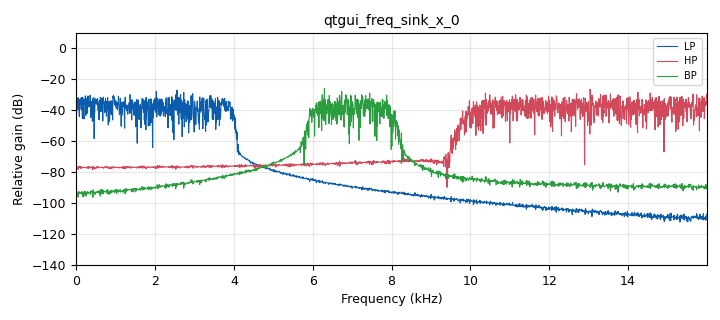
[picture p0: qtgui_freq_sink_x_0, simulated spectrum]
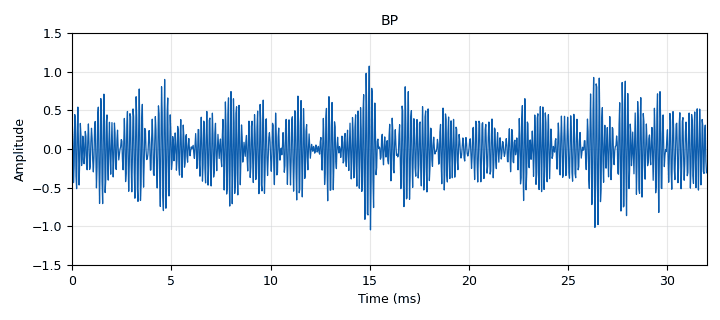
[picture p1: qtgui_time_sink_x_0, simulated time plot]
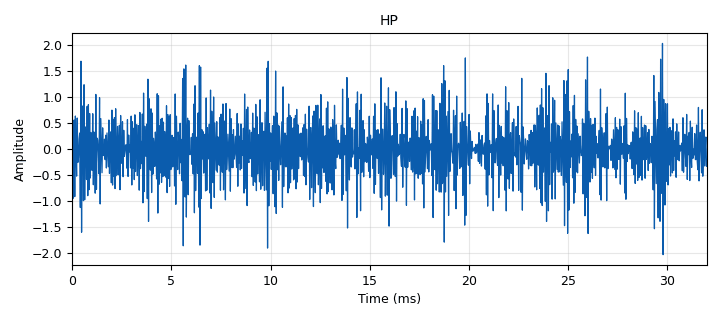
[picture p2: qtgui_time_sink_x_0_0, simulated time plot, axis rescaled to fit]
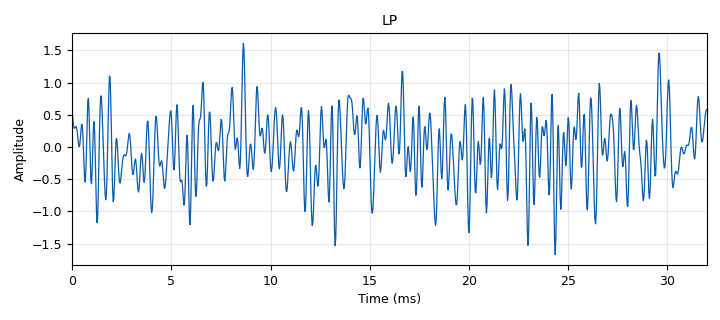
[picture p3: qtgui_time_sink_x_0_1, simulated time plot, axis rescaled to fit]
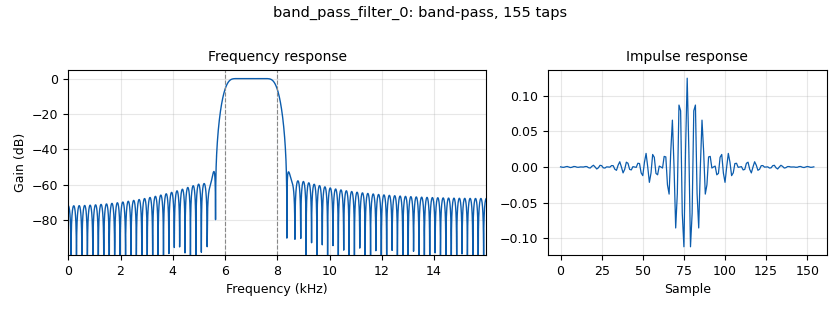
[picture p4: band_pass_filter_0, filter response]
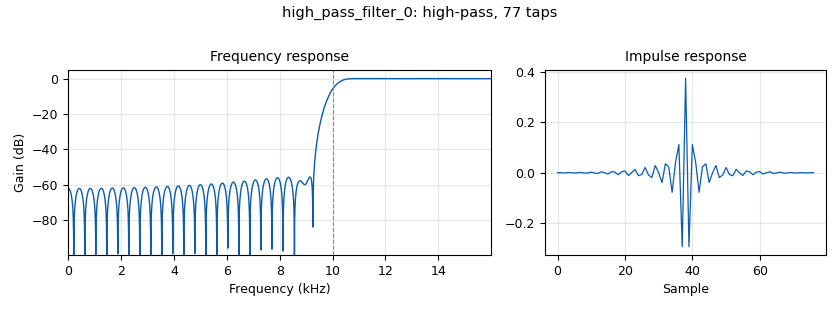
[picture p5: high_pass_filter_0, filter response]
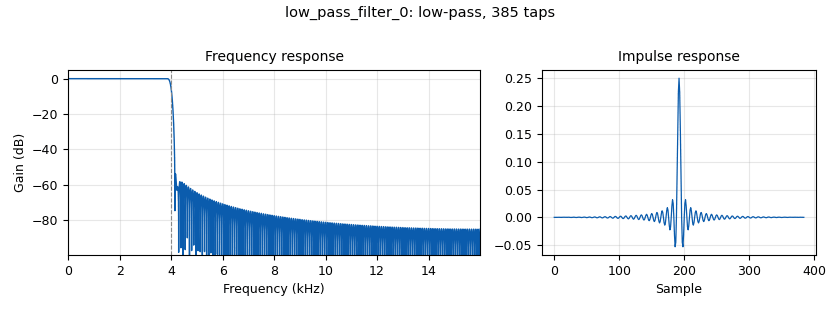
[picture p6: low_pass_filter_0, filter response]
<?xml version='1.0' encoding='utf-8'?>
<?grc format='1' created='3.7.9'?>
<flow_graph>
<block>
<key>options</key>
<param><key>id</key><value>top_block</value></param>
<param><key>category</key><value>Custom</value></param>
<param><key>generate_options</key><value>qt_gui</value></param>
</block>
<block>
<key>variable</key>
<param><key>id</key><value>samp_rate</value></param>
<param><key>value</key><value>32000</value></param>
</block>
<block>
<key>qtgui_number_sink</key>
<param><key>id</key><value>RMS_0</value></param>
<param><key>gui_hint</key><value>aba@1</value></param>
<param><key>graph_type</key><value>qtgui.NUM_GRAPH_HORIZ</value></param>
<param><key>type</key><value>float</value></param>
<param><key>label1</key><value>LP</value></param>
<param><key>label2</key><value>HP</value></param>
<param><key>label3</key><value>BP</value></param>
<param><key>min</key><value>0</value></param>
<param><key>nconnections</key><value>3</value></param>
</block>
<block>
<key>qtgui_number_sink</key>
<param><key>id</key><value>RMS_0_0</value></param>
<param><key>autoscale</key><value>True</value></param>
<param><key>gui_hint</key><value>aba@1</value></param>
<param><key>graph_type</key><value>qtgui.NUM_GRAPH_HORIZ</value></param>
<param><key>type</key><value>float</value></param>
<param><key>label1</key><value>Noise</value></param>
<param><key>max</key><value>1.5</value></param>
<param><key>min</key><value>0</value></param>
</block>
<block>
<key>qtgui_tab_widget</key>
<param><key>id</key><value>aba</value></param>
<param><key>label0</key><value>Resposta em f</value></param>
<param><key>label1</key><value>Valores RMS</value></param>
<param><key>label2</key><value>Osciloscopio</value></param>
<param><key>num_tabs</key><value>3</value></param>
</block>
<block>
<key>analog_noise_source_x</key>
<param><key>id</key><value>analog_noise_source_x_0</value></param>
<param><key>amp</key><value>1</value></param>
<param><key>noise_type</key><value>analog.GR_GAUSSIAN</value></param>
<param><key>type</key><value>float</value></param>
<param><key>seed</key><value>0</value></param>
</block>
<block>
<key>band_pass_filter</key>
<param><key>id</key><value>band_pass_filter_0</value></param>
<param><key>decim</key><value>1</value></param>
<param><key>type</key><value>fir_filter_fff</value></param>
<param><key>gain</key><value>1</value></param>
<param><key>high_cutoff_freq</key><value>8000</value></param>
<param><key>low_cutoff_freq</key><value>6000</value></param>
<param><key>samp_rate</key><value>samp_rate</value></param>
<param><key>width</key><value>500</value></param>
<param><key>win</key><value>firdes.WIN_HAMMING</value></param>
</block>
<block>
<key>blocks_rms_xx</key>
<param><key>id</key><value>blocks_rms_xx_0</value></param>
<param><key>alpha</key><value>0.0001</value></param>
<param><key>type</key><value>float</value></param>
</block>
<block>
<key>blocks_rms_xx</key>
<param><key>id</key><value>blocks_rms_xx_0_0</value></param>
<param><key>alpha</key><value>0.0001</value></param>
<param><key>type</key><value>float</value></param>
</block>
<block>
<key>blocks_rms_xx</key>
<param><key>id</key><value>blocks_rms_xx_0_0_0</value></param>
<param><key>alpha</key><value>0.0001</value></param>
<param><key>type</key><value>float</value></param>
</block>
<block>
<key>blocks_rms_xx</key>
<param><key>id</key><value>blocks_rms_xx_0_0_0_0</value></param>
<param><key>alpha</key><value>0.0001</value></param>
<param><key>type</key><value>float</value></param>
</block>
<block>
<key>high_pass_filter</key>
<param><key>id</key><value>high_pass_filter_0</value></param>
<param><key>cutoff_freq</key><value>10000</value></param>
<param><key>decim</key><value>1</value></param>
<param><key>type</key><value>fir_filter_fff</value></param>
<param><key>gain</key><value>1</value></param>
<param><key>samp_rate</key><value>samp_rate</value></param>
<param><key>width</key><value>1000</value></param>
<param><key>win</key><value>firdes.WIN_HAMMING</value></param>
</block>
<block>
<key>low_pass_filter</key>
<param><key>id</key><value>low_pass_filter_0</value></param>
<param><key>cutoff_freq</key><value>4000</value></param>
<param><key>decim</key><value>1</value></param>
<param><key>type</key><value>fir_filter_fff</value></param>
<param><key>gain</key><value>1</value></param>
<param><key>samp_rate</key><value>samp_rate</value></param>
<param><key>width</key><value>200</value></param>
<param><key>win</key><value>firdes.WIN_HAMMING</value></param>
</block>
<block>
<key>qtgui_freq_sink_x</key>
<param><key>id</key><value>qtgui_freq_sink_x_0</value></param>
<param><key>bw</key><value>samp_rate</value></param>
<param><key>fc</key><value>0</value></param>
<param><key>ctrlpanel</key><value>True</value></param>
<param><key>fftsize</key><value>4096</value></param>
<param><key>gui_hint</key><value>aba@0</value></param>
<param><key>grid</key><value>True</value></param>
<param><key>label1</key><value>LP</value></param>
<param><key>label2</key><value>HP</value></param>
<param><key>label3</key><value>BP</value></param>
<param><key>nconnections</key><value>3</value></param>
<param><key>showports</key><value>True</value></param>
<param><key>freqhalf</key><value>False</value></param>
<param><key>type</key><value>float</value></param>
<param><key>wintype</key><value>firdes.WIN_RECTANGULAR</value></param>
</block>
<block>
<key>qtgui_time_sink_x</key>
<param><key>id</key><value>qtgui_time_sink_x_0</value></param>
<param><key>ctrlpanel</key><value>True</value></param>
<param><key>gui_hint</key><value>aba@2</value></param>
<param><key>grid</key><value>True</value></param>
<param><key>color1</key><value>"green"</value></param>
<param><key>label1</key><value></value></param>
<param><key>name</key><value>"BP"</value></param>
<param><key>size</key><value>1024</value></param>
<param><key>srate</key><value>samp_rate</value></param>
<param><key>type</key><value>float</value></param>
<param><key>ymax</key><value>1.5</value></param>
<param><key>ymin</key><value>-1.5</value></param>
</block>
<block>
<key>qtgui_time_sink_x</key>
<param><key>id</key><value>qtgui_time_sink_x_0_0</value></param>
<param><key>ctrlpanel</key><value>True</value></param>
<param><key>gui_hint</key><value>aba@2</value></param>
<param><key>grid</key><value>True</value></param>
<param><key>color1</key><value>"red"</value></param>
<param><key>label1</key><value></value></param>
<param><key>name</key><value>"HP"</value></param>
<param><key>size</key><value>1024</value></param>
<param><key>srate</key><value>samp_rate</value></param>
<param><key>type</key><value>float</value></param>
<param><key>ymax</key><value>1.5</value></param>
<param><key>ymin</key><value>-1.5</value></param>
</block>
<block>
<key>qtgui_time_sink_x</key>
<param><key>id</key><value>qtgui_time_sink_x_0_1</value></param>
<param><key>ctrlpanel</key><value>True</value></param>
<param><key>gui_hint</key><value>aba@2</value></param>
<param><key>grid</key><value>True</value></param>
<param><key>color1</key><value>"blue"</value></param>
<param><key>label1</key><value></value></param>
<param><key>name</key><value>"LP"</value></param>
<param><key>size</key><value>1024</value></param>
<param><key>srate</key><value>samp_rate</value></param>
<param><key>type</key><value>float</value></param>
<param><key>ymax</key><value>1.5</value></param>
<param><key>ymin</key><value>-1.5</value></param>
</block>
<connection><source_block_id>analog_noise_source_x_0</source_block_id><sink_block_id>band_pass_filter_0</sink_block_id><source_key>0</source_key><sink_key>0</sink_key></connection>
<connection><source_block_id>analog_noise_source_x_0</source_block_id><sink_block_id>blocks_rms_xx_0_0_0_0</sink_block_id><source_key>0</source_key><sink_key>0</sink_key></connection>
<connection><source_block_id>analog_noise_source_x_0</source_block_id><sink_block_id>high_pass_filter_0</sink_block_id><source_key>0</source_key><sink_key>0</sink_key></connection>
<connection><source_block_id>analog_noise_source_x_0</source_block_id><sink_block_id>low_pass_filter_0</sink_block_id><source_key>0</source_key><sink_key>0</sink_key></connection>
<connection><source_block_id>band_pass_filter_0</source_block_id><sink_block_id>blocks_rms_xx_0_0_0</sink_block_id><source_key>0</source_key><sink_key>0</sink_key></connection>
<connection><source_block_id>band_pass_filter_0</source_block_id><sink_block_id>qtgui_freq_sink_x_0</sink_block_id><source_key>0</source_key><sink_key>2</sink_key></connection>
<connection><source_block_id>band_pass_filter_0</source_block_id><sink_block_id>qtgui_time_sink_x_0</sink_block_id><source_key>0</source_key><sink_key>0</sink_key></connection>
<connection><source_block_id>blocks_rms_xx_0</source_block_id><sink_block_id>RMS_0</sink_block_id><source_key>0</source_key><sink_key>0</sink_key></connection>
<connection><source_block_id>blocks_rms_xx_0_0</source_block_id><sink_block_id>RMS_0</sink_block_id><source_key>0</source_key><sink_key>1</sink_key></connection>
<connection><source_block_id>blocks_rms_xx_0_0_0</source_block_id><sink_block_id>RMS_0</sink_block_id><source_key>0</source_key><sink_key>2</sink_key></connection>
<connection><source_block_id>blocks_rms_xx_0_0_0_0</source_block_id><sink_block_id>RMS_0_0</sink_block_id><source_key>0</source_key><sink_key>0</sink_key></connection>
<connection><source_block_id>high_pass_filter_0</source_block_id><sink_block_id>blocks_rms_xx_0_0</sink_block_id><source_key>0</source_key><sink_key>0</sink_key></connection>
<connection><source_block_id>high_pass_filter_0</source_block_id><sink_block_id>qtgui_freq_sink_x_0</sink_block_id><source_key>0</source_key><sink_key>1</sink_key></connection>
<connection><source_block_id>high_pass_filter_0</source_block_id><sink_block_id>qtgui_time_sink_x_0_0</sink_block_id><source_key>0</source_key><sink_key>0</sink_key></connection>
<connection><source_block_id>low_pass_filter_0</source_block_id><sink_block_id>blocks_rms_xx_0</sink_block_id><source_key>0</source_key><sink_key>0</sink_key></connection>
<connection><source_block_id>low_pass_filter_0</source_block_id><sink_block_id>qtgui_freq_sink_x_0</sink_block_id><source_key>0</source_key><sink_key>0</sink_key></connection>
<connection><source_block_id>low_pass_filter_0</source_block_id><sink_block_id>qtgui_time_sink_x_0_1</sink_block_id><source_key>0</source_key><sink_key>0</sink_key></connection>
</flow_graph>
